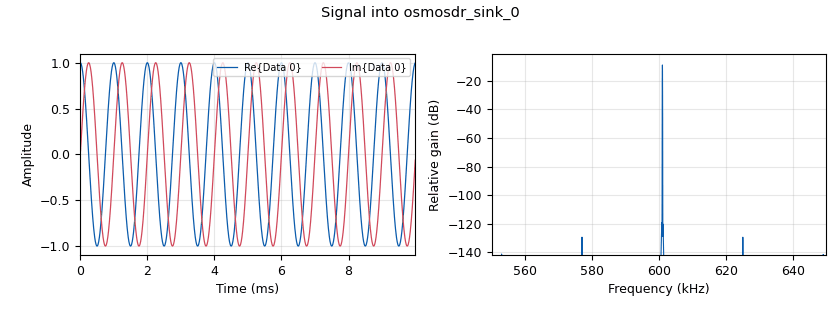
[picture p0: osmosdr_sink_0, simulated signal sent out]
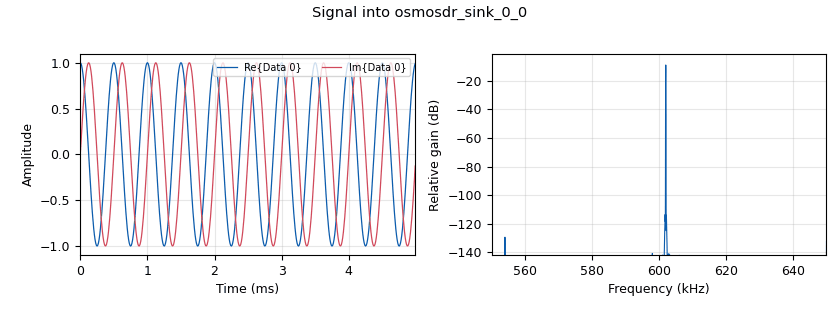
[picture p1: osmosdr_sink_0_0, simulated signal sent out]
<?xml version='1.0' encoding='utf-8'?>
<?grc format='1' created='3.7.13'?>
<flow_graph>
<block>
<key>options</key>
<param><key>id</key><value>trx_dual_template</value></param>
<param><key>category</key><value>Custom</value></param>
<param><key>generate_options</key><value>qt_gui</value></param>
</block>
<block>
<key>variable</key>
<param><key>id</key><value>rx1_samp_rate</value></param>
<param><key>value</key><value>100000</value></param>
</block>
<block>
<key>variable</key>
<param><key>id</key><value>rx2_samp_rate</value></param>
<param><key>value</key><value>100000</value></param>
</block>
<block>
<key>variable</key>
<param><key>id</key><value>samp_rate</value></param>
<param><key>value</key><value>48000</value></param>
</block>
<block>
<key>variable</key>
<param><key>id</key><value>tx1_samp_rate</value></param>
<param><key>value</key><value>100000</value></param>
</block>
<block>
<key>variable</key>
<param><key>id</key><value>tx2_samp_rate</value></param>
<param><key>value</key><value>100000</value></param>
</block>
<block>
<key>analog_sig_source_x</key>
<param><key>id</key><value>analog_sig_source_x_0</value></param>
<param><key>amp</key><value>1</value></param>
<param><key>freq</key><value>1000</value></param>
<param><key>offset</key><value>0</value></param>
<param><key>type</key><value>complex</value></param>
<param><key>samp_rate</key><value>tx1_samp_rate</value></param>
<param><key>waveform</key><value>analog.GR_COS_WAVE</value></param>
</block>
<block>
<key>analog_sig_source_x</key>
<param><key>id</key><value>analog_sig_source_x_0_0</value></param>
<param><key>amp</key><value>1</value></param>
<param><key>freq</key><value>2000</value></param>
<param><key>offset</key><value>0</value></param>
<param><key>type</key><value>complex</value></param>
<param><key>samp_rate</key><value>tx2_samp_rate</value></param>
<param><key>waveform</key><value>analog.GR_COS_WAVE</value></param>
</block>
<block>
<key>osmosdr_sink</key>
<param><key>id</key><value>osmosdr_sink_0</value></param>
<param><key>bb_gain0</key><value>0</value></param>
<param><key>freq0</key><value>600000</value></param>
<param><key>if_gain0</key><value>0</value></param>
<param><key>gain0</key><value>0</value></param>
<param><key>args</key><value>redpitaya=192.168.1.100:1001</value></param>
<param><key>type</key><value>fc32</value></param>
<param><key>sample_rate</key><value>tx1_samp_rate</value></param>
<param><key>sync</key><value></value></param>
</block>
<block>
<key>osmosdr_sink</key>
<param><key>id</key><value>osmosdr_sink_0_0</value></param>
<param><key>bb_gain0</key><value>0</value></param>
<param><key>freq0</key><value>600000</value></param>
<param><key>if_gain0</key><value>0</value></param>
<param><key>gain0</key><value>0</value></param>
<param><key>args</key><value>redpitaya=192.168.1.100:1002</value></param>
<param><key>type</key><value>fc32</value></param>
<param><key>sample_rate</key><value>tx1_samp_rate</value></param>
<param><key>sync</key><value></value></param>
</block>
<block>
<key>osmosdr_source</key>
<param><key>id</key><value>osmosdr_source</value></param>
<param><key>bb_gain0</key><value>20</value></param>
<param><key>freq0</key><value>600000</value></param>
<param><key>gain_mode0</key><value>False</value></param>
<param><key>if_gain0</key><value>20</value></param>
<param><key>gain0</key><value>10</value></param>
<param><key>args</key><value>redpitaya=192.168.1.100:1001</value></param>
<param><key>type</key><value>fc32</value></param>
<param><key>sample_rate</key><value>rx1_samp_rate</value></param>
<param><key>sync</key><value></value></param>
</block>
<block>
<key>osmosdr_source</key>
<param><key>id</key><value>osmosdr_source_0</value></param>
<param><key>bb_gain0</key><value>20</value></param>
<param><key>freq0</key><value>600000</value></param>
<param><key>gain_mode0</key><value>False</value></param>
<param><key>if_gain0</key><value>20</value></param>
<param><key>gain0</key><value>10</value></param>
<param><key>args</key><value>redpitaya=192.168.1.100:1002</value></param>
<param><key>type</key><value>fc32</value></param>
<param><key>sample_rate</key><value>rx2_samp_rate</value></param>
<param><key>sync</key><value></value></param>
</block>
<block>
<key>qtgui_freq_sink_x</key>
<param><key>id</key><value>qtgui_freq_sink_x_0</value></param>
<param><key>bw</key><value>rx1_samp_rate</value></param>
<param><key>fc</key><value>0</value></param>
<param><key>fftsize</key><value>1024</value></param>
<param><key>gui_hint</key><value>1,0,1,1</value></param>
<param><key>name</key><value>QT GUI Plot</value></param>
<param><key>showports</key><value>True</value></param>
<param><key>type</key><value>complex</value></param>
<param><key>wintype</key><value>firdes.WIN_BLACKMAN_hARRIS</value></param>
<param><key>ymin</key><value>-150</value></param>
</block>
<block>
<key>qtgui_freq_sink_x</key>
<param><key>id</key><value>qtgui_freq_sink_x_0_0</value></param>
<param><key>bw</key><value>rx2_samp_rate</value></param>
<param><key>fc</key><value>0</value></param>
<param><key>fftsize</key><value>1024</value></param>
<param><key>gui_hint</key><value>1,1,1,1</value></param>
<param><key>name</key><value>QT GUI Plot</value></param>
<param><key>showports</key><value>True</value></param>
<param><key>type</key><value>complex</value></param>
<param><key>wintype</key><value>firdes.WIN_BLACKMAN_hARRIS</value></param>
<param><key>ymin</key><value>-150</value></param>
</block>
<connection><source_block_id>analog_sig_source_x_0</source_block_id><sink_block_id>osmosdr_sink_0</sink_block_id><source_key>0</source_key><sink_key>0</sink_key></connection>
<connection><source_block_id>analog_sig_source_x_0_0</source_block_id><sink_block_id>osmosdr_sink_0_0</sink_block_id><source_key>0</source_key><sink_key>0</sink_key></connection>
<connection><source_block_id>osmosdr_source</source_block_id><sink_block_id>qtgui_freq_sink_x_0</sink_block_id><source_key>0</source_key><sink_key>0</sink_key></connection>
<connection><source_block_id>osmosdr_source_0</source_block_id><sink_block_id>qtgui_freq_sink_x_0_0</sink_block_id><source_key>0</source_key><sink_key>0</sink_key></connection>
</flow_graph>
